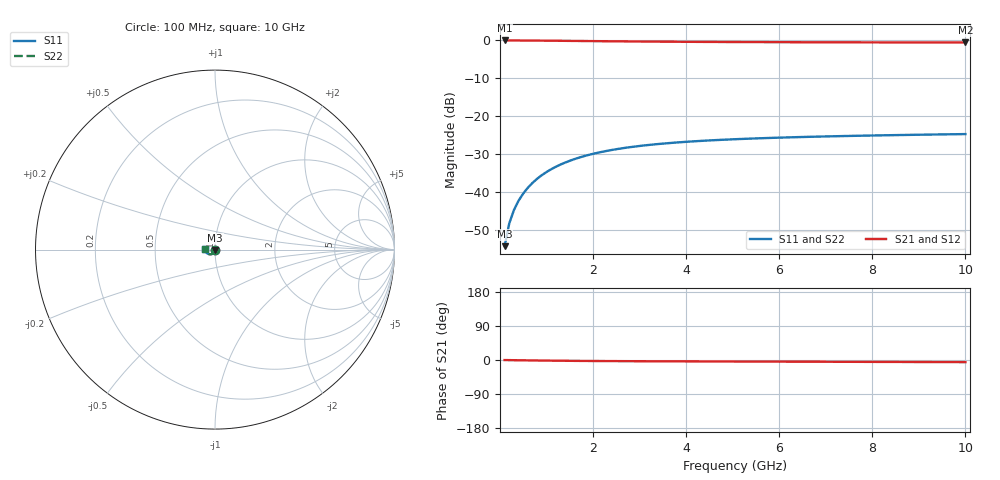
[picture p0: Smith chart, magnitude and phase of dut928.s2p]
! Touchstone file exported from HFSS 2024.1.0
!  File:  C:/UserFiles/LocalFiles/RDL_TSV_Batchsim/temp_TSV1_928_1779946883.aedt
!  Generated:  01:48:28 PM May 28, 2026
!  Design:  TSV1
!  Project:  temp_TSV1_928_1779946883
!  Setup:  Setup1
!  Solution:  Sweep
! Variables:
!  dtsv = 12.56um
!  hbump = 3um
!  htsv = 88.34um
!  lrdl = 252.1521522um
!  p = 40
!  p1 = 58.35um
!  t = 500um
!  trdl = 3um
!  wrdl = 24.89489489um
# GHz S MA R 50.000000
! Terminal data exported
! Port[1] = TSV22_T1
! Port[2] = TSV22_T2
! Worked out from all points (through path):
!   100 points, 100 MHz to 10 GHz, reference 50 ohm
!   highest |S21| = 0.00 dB at 100 MHz (marker M1); lowest = -0.5 dB at 10 GHz (marker M2)
!   lowest |S11| = -54.2 dB at 100 MHz (marker M3), VSWR 1.00, Z = 50 - j0.195 ohm
!   |S11| at or under -10 dB: start of sweep to end of sweep
!   |S22| runs from -54.2 to -24.7 dB; largest |S21 - S12| = 8.3e-15
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0.1  0.001947 -89.4  0.9998 -0.2  0.9998 -0.2  0.001947 -89.4
! Gamma 0 0 0 0
! Port Impedance 50 0 50 0
0.2  0.003888 -92.8  0.9996 -0.3  0.9996 -0.3  0.003888 -92.8
0.3  0.00582 -95.4  0.9992 -0.5  0.9992 -0.5  0.00582 -95.4
0.4  0.007734 -97.8  0.9987 -0.7  0.9987 -0.7  0.007734 -97.8
0.5  0.009623 -100.1  0.998 -0.8  0.998 -0.8  0.009623 -100.1
0.6  0.01148 -102.3  0.9973 -1.0  0.9973 -1.0  0.01148 -102.3
0.7  0.0133 -104.5  0.9964 -1.1  0.9964 -1.1  0.0133 -104.5
0.8  0.01507 -106.6  0.9954 -1.3  0.9954 -1.3  0.01507 -106.6
0.9  0.01679 -108.7  0.9944 -1.4  0.9944 -1.4  0.01679 -108.7
1.1  0.02008 -112.7  0.9921 -1.7  0.9921 -1.7  0.02008 -112.7
1.4  0.02459 -118.3  0.9882 -2.1  0.9882 -2.1  0.02459 -118.3
1.6  0.02731 -121.8  0.9856 -2.3  0.9856 -2.3  0.02731 -121.8
1.8  0.0298 -125.1  0.9829 -2.4  0.9829 -2.4  0.0298 -125.1
2.1  0.03313 -129.7  0.9789 -2.7  0.9789 -2.7  0.03313 -129.7
2.5  0.0369 -135.2  0.974 -3.0  0.974 -3.0  0.0369 -135.2
2.9  0.04001 -140.1  0.9695 -3.2  0.9695 -3.2  0.04001 -140.1
3.4  0.04317 -145.4  0.9646 -3.4  0.9646 -3.4  0.04317 -145.4
4.2  0.047 -152.6  0.9583 -3.7  0.9583 -3.7  0.047 -152.6
5.1  0.0501 -159.3  0.953 -4.0  0.953 -4.0  0.0501 -159.3
6.7  0.05382 -168.6  0.9467 -4.5  0.9467 -4.5  0.05382 -168.6
8.4  0.05647 -176.3  0.9425 -5.1  0.9425 -5.1  0.05647 -176.3
10  0.05838 177.5  0.9399 -5.7  0.9399 -5.7  0.05838 177.5
